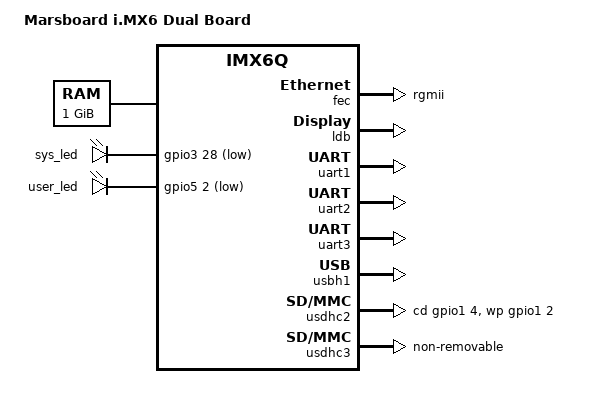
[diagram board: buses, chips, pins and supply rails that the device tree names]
/dts-v1/;

#include "imx6q.dtsi"

/ {
  	model = "Marsboard i.MX6 Dual Board";
	compatible = "embest,imx6q-marsboard", "fsl,imx6q";
	  aliases {
		  mxcfb0 = &mxcfb1;
		  mxcfb1 = &mxcfb2;
		  mxcfb2 = &mxcfb3;
		  mxcfb3 = &mxcfb4;
	  };

	  memory {
		reg = <0x10000000 0x40000000>;
	  };

	leds { /* see iomuxc definition below */
		compatible = "gpio-leds";
		sys_led {
			gpios = <&gpio3 28 GPIO_ACTIVE_LOW>;
			linux,default-trigger = "heartbeat";
		};
		user_led {
			gpios = <&gpio5 2 GPIO_ACTIVE_LOW>;
		};
	};
	
	mxcfb1: fb@0 {
		  compatible = "fsl,mxc_sdc_fb";
		  disp_dev = "ldb";
		  interface_pix_fmt = "RGB666";
		  mode_str ="LDB-XGA";
		  default_bpp = <16>;
		  int_clk = <0>;
		  late_init = <0>;
		  status = "disabled";
	  };

	  mxcfb2: fb@1 {
		  compatible = "fsl,mxc_sdc_fb";
		  disp_dev = "hdmi";
		  interface_pix_fmt = "RGB24";
		  mode_str ="1920x1080M@60";
		  default_bpp = <24>;
		  int_clk = <0>;
		  late_init = <0>;
		  status = "enabled";
	  };

	  mxcfb3: fb@2 {
		  compatible = "fsl,mxc_sdc_fb";
		  disp_dev = "lcd";
		  interface_pix_fmt = "RGB565";
		  mode_str ="CLAA-WVGA";
		  default_bpp = <16>;
		  int_clk = <0>;
		  late_init = <0>;
		  status = "disabled";
	  };

	  mxcfb4: fb@3 {
		  compatible = "fsl,mxc_sdc_fb";
		  disp_dev = "ldb";
		  interface_pix_fmt = "RGB666";
		  mode_str ="LDB-XGA";
		  default_bpp = <16>;
		  int_clk = <0>;
		  late_init = <0>;
		  status = "disabled";
	  };

	  v4l2_cap_0 {
		  compatible = "fsl,imx6q-v4l2-capture";
		  ipu_id = <0>;
		  csi_id = <0>;
		  mclk_source = <0>;
		  status = "disabled";
	  }; 

	  v4l2_cap_1 {
		  compatible = "fsl,imx6q-v4l2-capture";
		  ipu_id = <0>;
		  csi_id = <1>;
		  mclk_source = <0>;
		  status = "disabled";
	  };

	  v4l2_out {
		  compatible = "fsl,mxc_v4l2_output";
		  status = "disabled";
	  };
};


&iomuxc {
	pinctrl-names = "default";
	pinctrl-0 = <&pinctrl_hog>;

	hog {
		pinctrl_hog: hoggrp {
		fsl,pins = < 
			/* RIoT board ?! */
			MX6QDL_PAD_GPIO_2__GPIO1_IO02 0x80000000 /* SD2 WP */
			MX6QDL_PAD_GPIO_4__GPIO1_IO04 0x80000000 /* SD2 CD */

			/* gpio-leds */
			MX6QDL_PAD_EIM_D28__GPIO3_IO28 0x80000000
			MX6QDL_PAD_EIM_A25__GPIO5_IO02 0x80000000
		>;
		};
	};
};

&cpu0 {
  arm-supply = <&reg_arm>;
  soc-supply = <&reg_soc>;
  pu-supply = <&reg_pu>; /* use pu_dummy if VDDSOC share with VDDPU */
};

&gpc {
  fsl,ldo-bypass = <0>; /* use ldo-bypass, u-boot will check it and configure */
  fsl,wdog-reset = <1>; /* watchdog select of reset source */
  pu-supply = <&reg_pu>; /* ldo-bypass:use pu_dummy if VDDSOC share with VDDPU */
};

&gpu {
  pu-supply = <&reg_pu>; /* ldo-bypass:use pu_dummy if VDDSOC share with VDDPU */
};

&vpu {
  pu-supply = <&reg_pu>; /* ldo-bypass:use pu_dummy if VDDSOC share with VDDPU */
};

&fec {
  pinctrl-names = "default";
  pinctrl-0 = <&pinctrl_enet_1>;
  phy-mode = "rgmii";
  status = "okay";
};

&mxcfb1 {
  status = "okay";
};

&ldb {
  ipu_id = <1>;
  disp_id = <1>;
  ext_ref = <1>;
  mode = "sep1";
  sec_ipu_id = <1>;
  sec_disp_id = <0>;
  status = "okay";
};

&uart1 {
  pinctrl-names = "default";
  pinctrl-0 = <&pinctrl_uart1_1>;
  status = "okay";
};

&uart2 {
  pinctrl-names = "default";
  pinctrl-0 = <&pinctrl_uart2_1>;
  status = "okay";
};

&uart3 {
  pinctrl-names = "default";
  pinctrl-0 = <&pinctrl_uart3_1>;
  status = "okay";
};

&usbh1 {
  status = "okay";
};

&usdhc2 {
  pinctrl-names = "default";
  pinctrl-0 = <&pinctrl_usdhc2_2>;
  cd-gpios = <&gpio1 4 0>;
  wp-gpios = <&gpio1 2 0>;
  status = "okay";
};

&usdhc3 {
  pinctrl-names = "default";
  pinctrl-0 = <&pinctrl_usdhc3_2>;
  non-removable;
  status = "okay";
};
